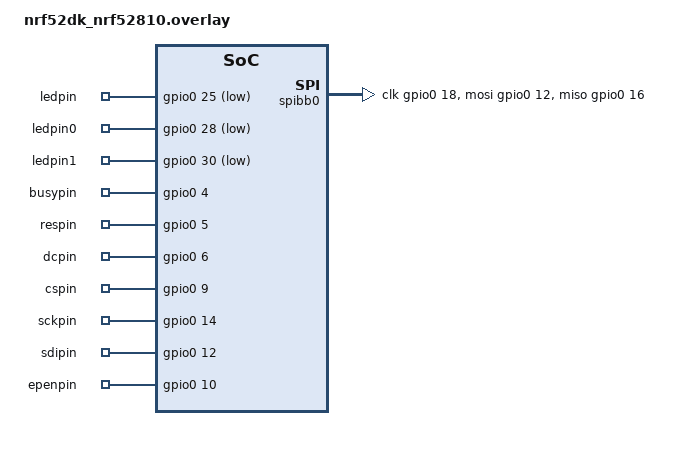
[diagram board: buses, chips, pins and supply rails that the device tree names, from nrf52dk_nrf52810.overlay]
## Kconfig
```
#
# Copyright (c) 2018 Nordic Semiconductor
#
# SPDX-License-Identifier: LicenseRef-Nordic-5-Clause
#

source "Kconfig.zephyr"

# menu "Nordic LED-Button BLE GATT service sample"

# config BT_LBS_SECURITY_ENABLED
# 	bool "Enable security"
# 	default y
# 	select BT_SMP
# 	select BT_SETTINGS
# 	select FLASH
# 	select FLASH_PAGE_LAYOUT
# 	select FLASH_MAP
# 	select NVS
# 	select SETTINGS
# 	help
# 	  "Enable BLE security for the LED-Button service"

# endmenu
```

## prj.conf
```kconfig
CONFIG_SPI=y
CONFIG_GPIO=y

CONFIG_SERIAL=n
```

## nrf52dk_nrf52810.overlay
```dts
/ {

    display {
        compatible = "gpio-keys";

        ledpin: led_pin_0 {
            gpios = <&gpio0 25 GPIO_ACTIVE_LOW>;
            label = "ledpin";
        };
    
        ledpin0: led_pin_1 {
           gpios = <&gpio0 28 GPIO_ACTIVE_LOW>;
           label = "ledpin0";
       };
    
       ledpin1: led_pin_2 {
           gpios = <&gpio0 30 GPIO_ACTIVE_LOW>;
           label = "ledpin1";
       };
    
        busypin: gpiocus_3 {
            gpios = <&gpio0 4 (GPIO_PULL_UP | GPIO_ACTIVE_HIGH)>;
            label = "busypin";
        };
    
        respin: gpiocus_4 {
            gpios = <&gpio0 5 GPIO_ACTIVE_HIGH>;
            label = "respin";
        };
    
        dcpin: gpiocus_5 {
            gpios = <&gpio0 6 GPIO_ACTIVE_HIGH>;
            label = "dcpin";
        };
    
        cspin: gpiocus_6 {
            gpios = <&gpio0 9 GPIO_ACTIVE_HIGH>;
            label = "cspin";
        };
    
        sckpin: gpiocus_7 {
            gpios = <&gpio0 14 GPIO_ACTIVE_HIGH>;
            label = "sckpin";
        };
    
        sdipin: gpiocus_8 {
            gpios = <&gpio0 12 GPIO_ACTIVE_HIGH>;
            label = "sdipin";
        };
    
        epenpin: gpiocus_9 {
            gpios = <&gpio0 10 GPIO_ACTIVE_HIGH>;
            label = "epenpin";
        };
    };

    spibb0: spibb0 {
        compatible = "zephyr,spi-bitbang";
		status="okay";
		#address-cells = <1>;
		#size-cells = <0>;
		clk-gpios   = <&gpio0 18 GPIO_ACTIVE_HIGH>; //
 		mosi-gpios  = <&gpio0 12 GPIO_ACTIVE_HIGH>; // 
		miso-gpios  = <&gpio0 16 0>;
        cs-gpios    = <&gpio0 20 GPIO_ACTIVE_LOW>;  
    };    

};
```

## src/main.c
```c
#include <zephyr/kernel.h>
#include <zephyr/drivers/spi.h>
#include <zephyr/drivers/gpio.h>
#include <zephyr/device.h>
#include "epaper.h"

#define SPIBB_NODE	DT_NODELABEL(spibb0)
const struct device *const dev = DEVICE_DT_GET(SPIBB_NODE);


void test_8bit_xfer()
{
    struct spi_config config;
   
    struct spi_cs_control cs_ctrl = (struct spi_cs_control){
		.gpio = GPIO_DT_SPEC_GET(SPIBB_NODE, cs_gpios),
		.delay = 0u,
	};

	config.frequency = 1000000;
	config.operation = SPI_OP_MODE_MASTER | SPI_WORD_SET(8);
	config.slave = 0;
	config.cs = &cs_ctrl;

	enum { datacount = 5 };
	uint8_t buff[datacount] = { 0x01, 0x02, 0x03, 0x04, 0x05};
	uint8_t rxdata[datacount];

	struct spi_buf tx_buf[1] = {
		{.buf = buff, .len = datacount},
	};
	struct spi_buf rx_buf[1] = {
		{.buf = rxdata, .len = datacount},
	};

	struct spi_buf_set tx_set = { .buffers = tx_buf, .count = 1 };
	struct spi_buf_set rx_set = { .buffers = rx_buf, .count = 1 };

	int ret = spi_transceive(dev, &config, &tx_set, &rx_set);

    Epaper_Write_Command(0x24); 

    for(int i = 0; i < 5; i++)
    {
        Epaper_Write_Data(rxdata[i]);

        if(rxdata[i] == 0xff)
            gpio_pin_set_dt(&LED0, 0);
        else
            gpio_pin_set_dt(&LED1, 0);

    }

    for(int i = 5; i < ALLSCREEN_GRAGHBYTES; i++)
    {               
        Epaper_Write_Data(0xff);
    }

    Epaper_Write_Command(0x26);   //write RAM for black(0)/white (1)
    for(int i = 0; i < ALLSCREEN_GRAGHBYTES; i++)
    {               
        Epaper_Write_Data(0x00);
    }

    EPD_Update();   
	// printf("8bit_loopback_partial; ret: %d\n", ret);
	// printf(" tx (i)  : %02x %02x %02x %02x %02x\n",
	//        buff[0], buff[1], buff[2], buff[3], buff[4]);
	// printf(" rx (i)  : %02x %02x %02x %02x %02x\n",
	//        rxdata[0], rxdata[1], rxdata[2], rxdata[3], rxdata[4]);
}



int main()
{
    //cleanDisplay();
    epaperSetup();

    // gpio_pin_set_dt(&LED2, 0);


    gpio_pin_set_dt(&EPEN, HIGH);

    EPD_HW_Init(); // Electronic paper initialization

    test_8bit_xfer();

    EPD_DeepSleep(); // Enter deep sleep,Sleep instruction is necessary, please do not delete!!!

    gpio_pin_set_dt(&EPEN, LOW);

}
```
